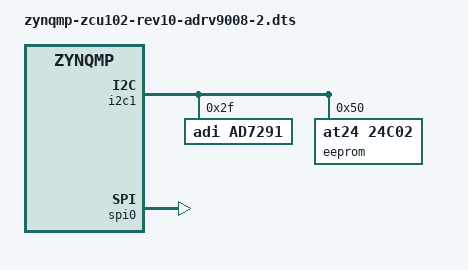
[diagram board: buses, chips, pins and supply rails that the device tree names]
// SPDX-License-Identifier: GPL-2.0
/*
 * Analog Devices ADRV9008-2
 * https://wiki.analog.com/resources/eval/user-guides/adrv9009
 * https://wiki.analog.com/resources/tools-software/linux-drivers/iio-transceiver/adrv9009
 * https://wiki.analog.com/resources/tools-software/linux-software/adrv9009_advanced_plugin
 *
 * hdl_project: <adrv9009/zcu102>
 * board_revision: <>
 *
 * Copyright (C) 2019 Analog Devices Inc.
 */
#include "zynqmp-zcu102-rev1.0.dts"
#include <dt-bindings/interrupt-controller/irq.h>

&i2c1 {
	i2c-mux@75 {
		i2c@1 { /* HPC1 */
			#address-cells = <1>;
			#size-cells = <0>;
			reg = <1>;

			ad7291@2f {
				compatible = "adi,ad7291";
				reg = <0x2f>;
			};

			eeprom@50 {
				compatible = "at24,24c02";
				reg = <0x50>;
			};
		};
	};
};

/ {
	fpga_axi: fpga-axi@0 {
		interrupt-parent = <&gic>;
		compatible = "simple-bus";
		#address-cells = <0x1>;
		#size-cells = <0x1>;
		ranges = <0 0 0 0xffffffff>;

		rx_obs_dma: dma@9c440000 {
			compatible = "adi,axi-dmac-1.00.a";
			reg = <0x9c440000 0x10000>;
			#dma-cells = <1>;
			#clock-cells = <0>;
			interrupts = <0 107 IRQ_TYPE_LEVEL_HIGH>;
			clocks = <&zynqmp_clk 73>;

			adi,channels {
				#size-cells = <0>;
				#address-cells = <1>;

				dma-channel@0 {
					reg = <0>;
					adi,source-bus-width = <128>;
					adi,source-bus-type = <2>;
					adi,destination-bus-width = <64>;
					adi,destination-bus-type = <0>;
				};
			};
		};

		tx_dma: dma@9c420000  {
			compatible = "adi,axi-dmac-1.00.a";
			reg = <0x9c420000 0x10000>;
			#dma-cells = <1>;
			#clock-cells = <0>;
			interrupts = <0 108 IRQ_TYPE_LEVEL_HIGH>;
			clocks = <&zynqmp_clk 73>;

			adi,channels {
				#size-cells = <0>;
				#address-cells = <1>;

				dma-channel@0 {
					reg = <0>;
					adi,source-bus-width = <128>;
					adi,source-bus-type = <0>;
					adi,destination-bus-width = <128>;
					adi,destination-bus-type = <2>;
				};
			};
		};

		axi_adrv9009_core_rx_obs: axi-adrv9009-rx-obs-hpc@84a08000 {
			compatible = "adi,axi-adrv9009-obs-1.0";
			reg = <0x84a08000 0x1000>;
			dmas = <&rx_obs_dma 0>;
			dma-names = "rx";
			clocks = <&trx0_adrv9009 1>;
			clock-names = "sampl_clk";
		};

		axi_adrv9009_core_tx: axi-adrv9009-tx-hpc@84a04000 {
			compatible = "adi,axi-adrv9009-tx-1.0";
			reg = <0x84a04000 0x4000>;
			dmas = <&tx_dma 0>;
			dma-names = "tx";
			clocks = <&trx0_adrv9009 2>;
			clock-names = "sampl_clk";
			spibus-connected = <&trx0_adrv9009>;
			//adi,axi-pl-fifo-enable;
			adi,axi-interpolation-core-available;
			interpolation-gpios = <&gpio 140 GPIO_ACTIVE_HIGH>;

		};

		axi_adrv9009_tx_jesd: axi-jesd204-tx@84a90000 {
			compatible = "adi,axi-jesd204-tx-1.0";
			reg = <0x84a90000 0x1000>;

			interrupts = <0 105 IRQ_TYPE_LEVEL_HIGH>;

			clocks = <&zynqmp_clk 71>, <&axi_tx_clkgen>, <&axi_adrv9009_adxcvr_tx 0>;
			clock-names = "s_axi_aclk", "device_clk", "lane_clk";

			#clock-cells = <0>;
			clock-output-names = "jesd_tx_lane_clk";

			adi,octets-per-frame = <2>;
			adi,frames-per-multiframe = <32>;
			adi,converter-resolution = <14>;
			adi,bits-per-sample = <16>;
			adi,converters-per-device = <4>;
			adi,control-bits-per-sample = <2>;
		};

		axi_adrv9009_rx_os_jesd: axi-jesd204-rx-os@84ab0000 {
			compatible = "adi,axi-jesd204-rx-1.0";
			reg = <0x84ab0000 0x1000>;

			interrupts = <0 104 IRQ_TYPE_LEVEL_HIGH>;

			clocks = <&zynqmp_clk 71>, <&axi_rx_os_clkgen>, <&axi_adrv9009_adxcvr_rx_os 0>;
			clock-names = "s_axi_aclk", "device_clk", "lane_clk";

			#clock-cells = <0>;
			clock-output-names = "jesd_rx_os_lane_clk";

			adi,octets-per-frame = <4>;
			adi,frames-per-multiframe = <32>;
		};

		axi_tx_clkgen: axi-clkgen@83c00000  {
			compatible = "adi,axi-clkgen-2.00.a";
			reg = <0x83c00000 0x10000>;
			#clock-cells = <0>;
			clocks = <&clk0_ad9528 1>;
			clock-output-names = "axi_tx_clkgen";
		};

		axi_rx_os_clkgen: axi-clkgen@83c20000  {
			compatible = "adi,axi-clkgen-2.00.a";
			reg = <0x83c20000 0x10000>;
			#clock-cells = <0>;
			clocks = <&clk0_ad9528 1>;
			clock-output-names = "axi_rx_os_clkgen";
		};

		axi_adrv9009_adxcvr_rx_os: axi-adxcvr-rx-os@84a50000 {
			#address-cells = <1>;
			#size-cells = <0>;
			compatible = "adi,axi-adxcvr-1.0";
			reg = <0x84a50000 0x1000>;

			clocks = <&clk0_ad9528 1>, <&axi_rx_os_clkgen>;
			clock-names = "conv", "div40";

			#clock-cells = <1>;
			clock-output-names = "rx_os_gt_clk", "rx_os_out_clk";

			adi,sys-clk-select = <0>;
			adi,out-clk-select = <3>;
			adi,use-lpm-enable;
			adi,use-cpll-enable;
		};

		axi_adrv9009_adxcvr_tx: axi-adxcvr-tx@84a80000 {
			#address-cells = <1>;
			#size-cells = <0>;
			compatible = "adi,axi-adxcvr-1.0";
			reg = <0x84a80000 0x1000>;

			clocks = <&clk0_ad9528 1>, <&axi_tx_clkgen>;
			clock-names = "conv", "div40";

			#clock-cells = <1>;
			clock-output-names = "tx_gt_clk", "tx_out_clk";

			adi,sys-clk-select = <3>;
			adi,out-clk-select = <3>;
		};

		axi_sysid_0: axi-sysid-0@85000000 {
			compatible = "adi,axi-sysid-1.00.a";
			reg = <0x85000000 0x10000>;
		};
	};
};

&spi0 {
	status = "okay";
};

#define fmc_spi spi0

#include "adi-adrv9009.dtsi"

// adrv9009_dac_fifo_bypass_s 60
// ad9528_reset_b,       // 59
// ad9528_sysref_req,    // 58
// adrv9009_tx1_enable,    // 57
// adrv9009_tx2_enable,    // 56
// adrv9009_rx1_enable,    // 55
// adrv9009_rx2_enable,    // 54
// adrv9009_test,          // 53
// adrv9009_reset_b,       // 52
// adrv9009_gpint,         // 51
// adrv9009_gpio_00,       // 50
// adrv9009_gpio_01,       // 49
// adrv9009_gpio_02,       // 48
// adrv9009_gpio_03,       // 47
// adrv9009_gpio_04,       // 46
// adrv9009_gpio_05,       // 45
// adrv9009_gpio_06,       // 44
// adrv9009_gpio_07,       // 43
// adrv9009_gpio_15,       // 42
// adrv9009_gpio_08,       // 41
// adrv9009_gpio_09,       // 40
// adrv9009_gpio_10,       // 39
// adrv9009_gpio_11,       // 38
// adrv9009_gpio_12,       // 37
// adrv9009_gpio_14,       // 36
// adrv9009_gpio_13,       // 35
// adrv9009_gpio_17,       // 34
// adrv9009_gpio_16,       // 33
// adrv9009_gpio_18}));    // 32 + 78

&trx0_adrv9009 {
	compatible = "adrv9008-2";

	clocks = <&axi_adrv9009_tx_jesd>, <&axi_adrv9009_rx_os_jesd>,
		<&clk0_ad9528 13>, <&clk0_ad9528 1>, <&clk0_ad9528 12>,
		<&clk0_ad9528 3>;
	clock-names = "jesd_tx_clk", "jesd_rx_os_clk",
		"dev_clk", "fmc_clk", "sysref_dev_clk", "sysref_fmc_clk";

	reset-gpios = <&gpio 130 0>;
	test-gpios = <&gpio 131 0>;
	sysref-req-gpios = <&gpio 136 0>;
	tx2-enable-gpios = <&gpio 134 0>;
	tx1-enable-gpios = <&gpio 135 0>;
};

&clk0_ad9528 {
	reset-gpios = <&gpio 137 0>;
};

&axi_adrv9009_core_tx {
	plddrbypass-gpios = <&gpio 138 0>;
};
